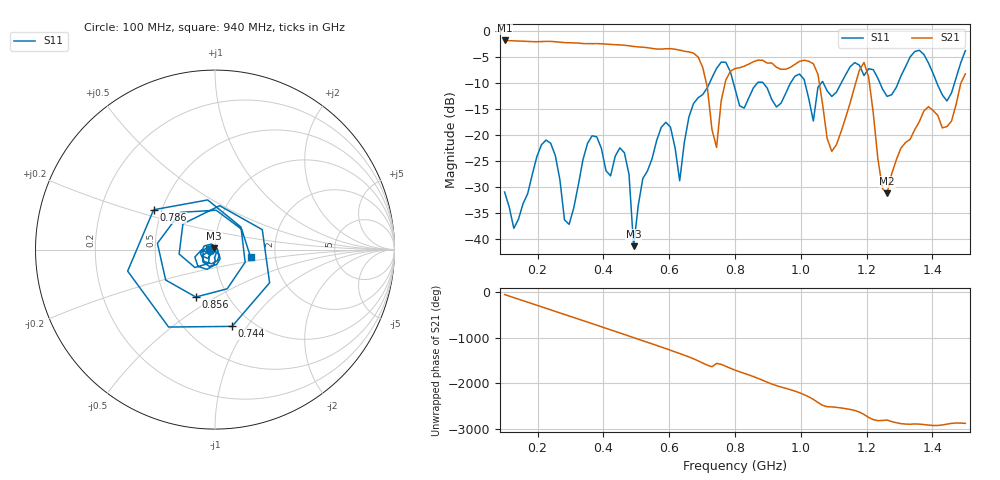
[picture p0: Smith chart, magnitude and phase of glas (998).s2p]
! NanoVNA-App
! Date: 2025-09-25 16:03:14
! Start: 100MHz Stop: 1,5GHz Points: 101
! S-Parameter data: F S11 S21 S12 S22
# Hz S RI R 50
!  Frequency  S11_Real  S11_Imag  S21_Real  S21_Imag  S12_Real  S12_Imag  S22_Real  S22_Imag
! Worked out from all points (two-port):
!   101 points, 100 MHz to 1.5 GHz, reference 50 ohm
!   highest |S21| = -1.80 dB at 100 MHz (marker M1); lowest = -31.1 dB at 1.262 GHz (marker M2)
!   |S21| within 3 dB of the highest: start of sweep to 684.5 MHz
!   lowest |S11| = -41.3 dB at 492 MHz (marker M3), VSWR 1.02, Z = 49.5 + j0.662 ohm
!   |S11| at or under -10 dB: start of sweep to 722.4 MHz; 795.4 MHz to 867.6 MHz (72.21 MHz wide, 8.68 % of centre); 886.2 MHz to 968.4 MHz (82.23 MHz wide, 8.87 % of centre) (the widest 3 of 7)
!   S12 and S22 are empty: the file has one direction only
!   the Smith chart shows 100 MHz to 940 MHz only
!   S11 on the Smith chart (normalised r, x): 100 MHz: 0.94, -0.01; 744 MHz: 0.81, -0.85; 786 MHz: 0.45, +0.24; 856 MHz: 0.71, -0.41; 940 MHz: 1.49, -0.13
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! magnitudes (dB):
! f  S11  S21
! 100 MHz  -30.9  -1.8
! 128 MHz  -37.9  -1.9
! 226 MHz  -20.9  -2.0
! 296 MHz  -37.1  -2.2
! 338 MHz  -24.7  -2.4
! 464 MHz  -23.4  -2.7
! 492 MHz  -41.3  -3.0
! 576 MHz  -18.5  -3.5
! 632 MHz  -28.8  -3.7
! 702 MHz  -12.2  -7.0
! 744 MHz  -7.2  -22.3
! 786 MHz  -7.8  -7.7
! 800 MHz  -11.1  -7.2
! 856 MHz  -10.9  -5.9
! 940 MHz  -13.8  -7.3
! 1.038 GHz  -17.3  -6.3
! 1.094 GHz  -12.6  -23.1
! 1.192 GHz  -8.5  -6.0
! 1.262 GHz  -12.5  -31.1
! 1.276 GHz  -12.2  -27.4
! 1.444 GHz  -13.4  -18.3
! 1.5 GHz  -3.7  -8.2
